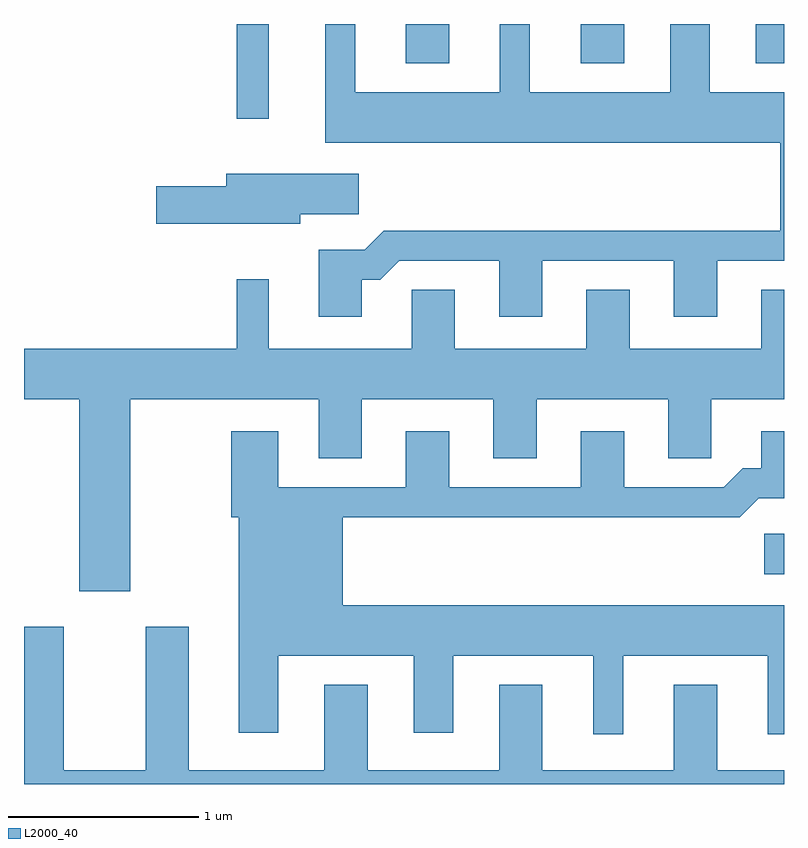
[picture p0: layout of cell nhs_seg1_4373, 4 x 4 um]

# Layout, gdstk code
import gdstk
lib = gdstk.Library(unit=1e-6, precision=1e-09)
def R(c, l, rs):  # rectangles x0, y0, x1, y1
    for r in rs: c.add(gdstk.rectangle(r[:2], r[2:], *l))
def P(c, l, *ps):  # polygons
    for p in ps: c.add(gdstk.Polygon(p, *l))
L2000_40 = (2000, 40)

nhs_seg1_4373 = lib.new_cell('nhs_seg1_4373')
R(nhs_seg1_4373, L2000_40, [(319.506,960.816,319.611,961.029), (316.731,963.213,316.899,963.712), (317.621,963.506,317.849,963.712), (318.541,963.506,318.769,963.712), (319.461,963.506,319.611,963.712)])
P(nhs_seg1_4373, L2000_40, [(317.389,962.366),(317.487,962.366),(317.587,962.466),(318.111,962.466),(318.111,962.171),(318.339,962.171),(318.339,962.466),(319.031,962.466),(319.031,962.171),(319.259,962.171),(319.259,962.466),(319.611,962.466),(319.611,963.354),(319.219,963.354),(319.219,963.712),(319.011,963.712),(319.011,963.354),(318.274,963.354),(318.274,963.712),(318.116,963.712),(318.116,963.354),(317.354,963.354),(317.354,963.712),(317.196,963.712),(317.196,963.086),(319.591,963.086),(319.591,962.624),(317.504,962.624),(317.404,962.524),(317.161,962.524),(317.161,962.171),(317.389,962.171)],
  [(317.064,962.711),(317.374,962.711),(317.374,962.924),(316.676,962.924),(316.676,962.859),(316.306,962.859),(316.306,962.661),(317.064,962.661)],
  [(316.169,961.736),(317.161,961.736),(317.161,961.426),(317.389,961.426),(317.389,961.736),(318.081,961.736),(318.081,961.426),(318.309,961.426),(318.309,961.736),(319.001,961.736),(319.001,961.426),(319.229,961.426),(319.229,961.736),(319.611,961.736),(319.611,962.314),(319.491,962.314),(319.491,962.004),(318.799,962.004),(318.799,962.314),(318.571,962.314),(318.571,962.004),(317.879,962.004),(317.879,962.314),(317.651,962.314),(317.651,962.004),(316.899,962.004),(316.899,962.368),(316.731,962.368),(316.731,962.004),(315.611,962.004),(315.611,961.736),(315.901,961.736),(315.901,960.726),(316.169,960.726)],
  [(318.764,960.386),(319.526,960.386),(319.526,959.973),(319.611,959.973),(319.611,960.654),(317.289,960.654),(317.289,961.116),(319.377,961.116),(319.477,961.216),(319.611,961.216),(319.611,961.569),(319.491,961.569),(319.491,961.374),(319.394,961.374),(319.294,961.274),(318.769,961.274),(318.769,961.569),(318.541,961.569),(318.541,961.274),(317.849,961.274),(317.849,961.569),(317.621,961.569),(317.621,961.274),(316.949,961.274),(316.949,961.569),(316.701,961.569),(316.701,961.116),(316.741,961.116),(316.741,959.981),(316.949,959.981),(316.949,960.386),(317.661,960.386),(317.661,959.981),(317.869,959.981),(317.869,960.386),(318.606,960.386),(318.606,959.973),(318.764,959.973)],
  [(319.611,959.784),(319.259,959.784),(319.259,960.234),(319.031,960.234),(319.031,959.784),(318.339,959.784),(318.339,960.234),(318.111,960.234),(318.111,959.784),(317.419,959.784),(317.419,960.234),(317.191,960.234),(317.191,959.784),(316.479,959.784),(316.479,960.539),(316.251,960.539),(316.251,959.784),(315.819,959.784),(315.819,960.539),(315.611,960.539),(315.611,959.712),(319.611,959.712)])

lib.write_gds('nhs_seg1_4373.gds')
